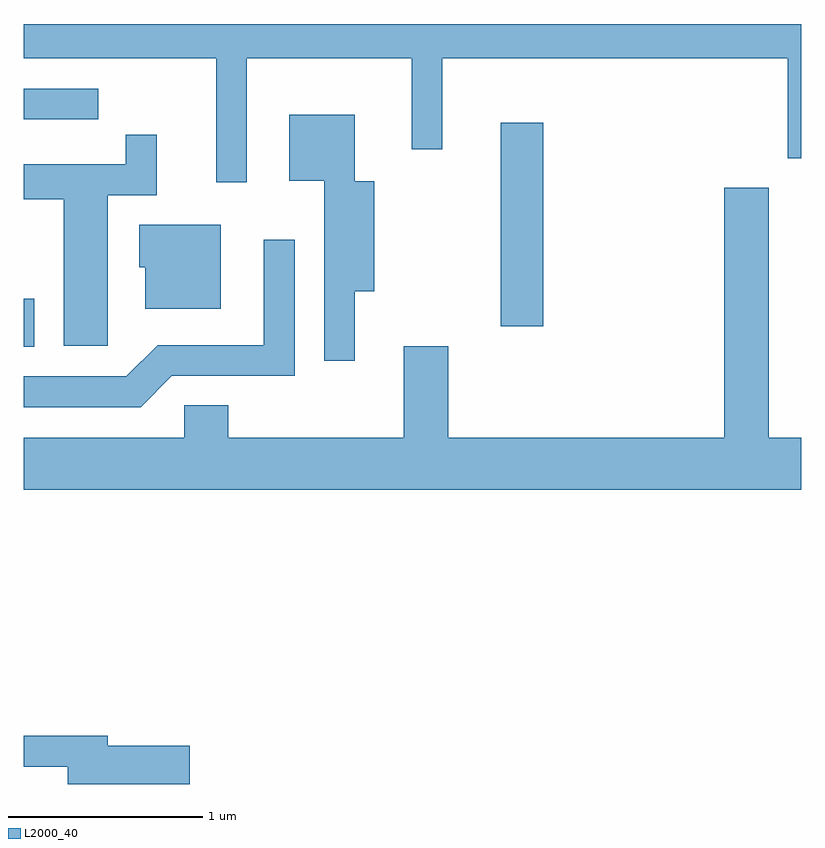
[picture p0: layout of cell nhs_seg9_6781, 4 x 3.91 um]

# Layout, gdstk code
import gdstk
lib = gdstk.Library(unit=1e-6, precision=1e-09)
def R(c, l, rs):  # rectangles x0, y0, x1, y1
    for r in rs: c.add(gdstk.rectangle(r[:2], r[2:], *l))
def P(c, l, *ps):  # polygons
    for p in ps: c.add(gdstk.Polygon(p, *l))
L2000_40 = (2000, 40)

nhs_seg9_6781 = lib.new_cell('nhs_seg9_6781')
R(nhs_seg9_6781, L2000_40, [(385.611,1994.771,385.664,1995.019), (388.066,1994.876,388.284,1995.924), (385.611,1995.941,385.993,1996.099)])
P(nhs_seg9_6781, L2000_40, [(386.759,1996.256),(387.606,1996.256),(387.606,1995.788),(387.764,1995.788),(387.764,1996.256),(389.541,1996.256),(389.541,1995.741),(389.611,1995.741),(389.611,1996.432),(385.611,1996.432),(385.611,1996.256),(386.601,1996.256),(386.601,1995.618),(386.759,1995.618)],
  [(387.314,1995.056),(387.414,1995.056),(387.414,1995.624),(387.314,1995.624),(387.314,1995.964),(386.976,1995.964),(386.976,1995.626),(387.156,1995.626),(387.156,1994.698),(387.314,1994.698)],
  [(386.044,1995.551),(386.294,1995.551),(386.294,1995.863),(386.136,1995.863),(386.136,1995.709),(385.611,1995.709),(385.611,1995.531),(385.816,1995.531),(385.816,1994.776),(386.044,1994.776)],
  [(389.611,1994.304),(389.444,1994.304),(389.444,1995.589),(389.216,1995.589),(389.216,1994.304),(387.794,1994.304),(387.794,1994.774),(387.566,1994.774),(387.566,1994.304),(386.664,1994.304),(386.664,1994.469),(386.436,1994.469),(386.436,1994.304),(385.611,1994.304),(385.611,1994.036),(389.611,1994.036)],
  [(386.624,1995.399),(386.206,1995.399),(386.206,1995.181),(386.236,1995.181),(386.236,1994.966),(386.624,1994.966)],
  [(386.372,1994.621),(387.004,1994.621),(387.004,1995.323),(386.846,1995.323),(386.846,1994.779),(386.299,1994.779),(386.139,1994.619),(385.611,1994.619),(385.611,1994.461),(386.212,1994.461)],
  [(386.464,1992.719),(386.044,1992.719),(386.044,1992.769),(385.611,1992.769),(385.611,1992.611),(385.836,1992.611),(385.836,1992.521),(386.464,1992.521)])

lib.write_gds('nhs_seg9_6781.gds')
